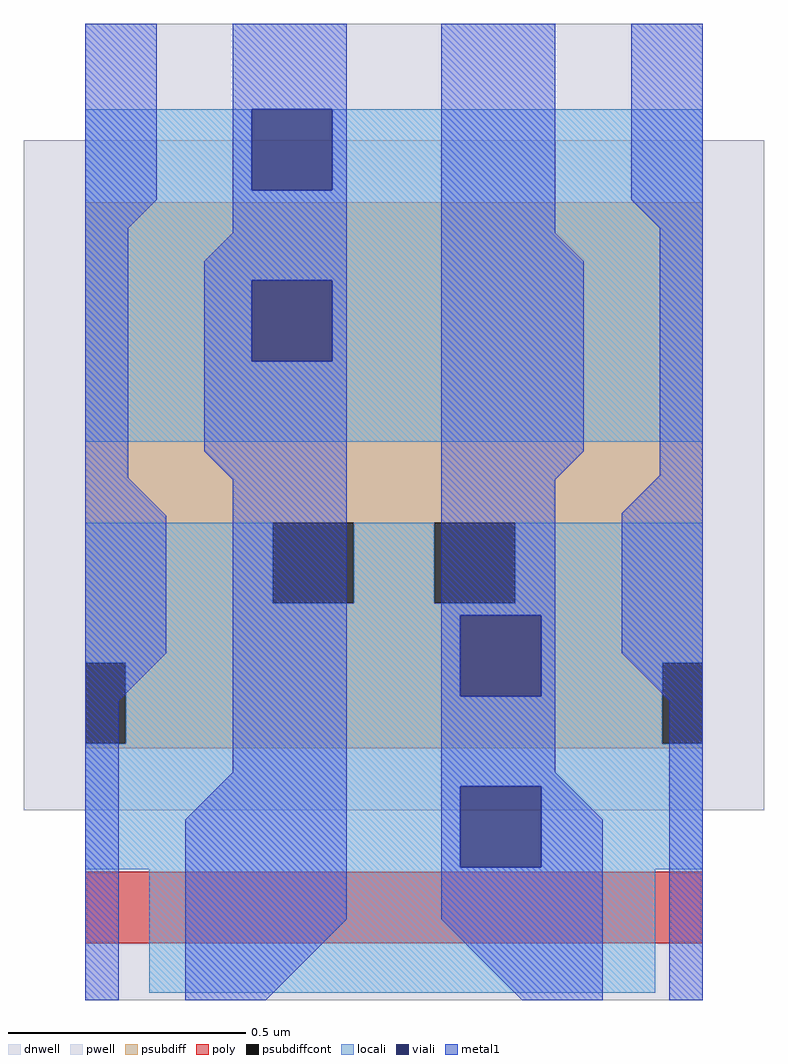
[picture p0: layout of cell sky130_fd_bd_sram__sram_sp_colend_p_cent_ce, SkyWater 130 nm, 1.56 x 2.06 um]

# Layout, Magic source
magic
tech sky130A
magscale 1 2
<< dnwell >>
rect 0 0 260 411
<< pwell >>
rect -26 80 286 362
<< psubdiff >>
rect 0 201 260 336
rect 0 167 79 201
rect 113 167 147 201
rect 181 167 260 201
rect 0 142 260 167
rect 17 108 243 142
rect 0 106 260 108
<< psubdiffcont >>
rect 79 167 113 201
rect 147 167 181 201
rect 0 108 17 142
rect 243 108 260 142
<< poly >>
rect 0 24 260 54
<< locali >>
rect 0 341 70 375
rect 104 341 260 375
rect 0 303 260 341
rect 0 269 70 303
rect 104 269 260 303
rect 0 235 260 269
rect 0 167 79 201
rect 113 167 147 201
rect 181 167 260 201
rect 0 162 260 167
rect 0 142 158 162
rect 17 128 158 142
rect 192 142 260 162
rect 192 128 243 142
rect 17 108 243 128
rect 0 90 260 108
rect 0 56 158 90
rect 192 56 260 90
rect 0 55 260 56
rect 27 3 240 55
<< viali >>
rect 70 341 104 375
rect 70 269 104 303
rect 158 128 192 162
rect 158 56 192 90
<< metal1 >>
rect 0 337 30 411
rect 0 204 18 337
tri 18 325 30 337 nw
rect 62 375 110 411
rect 62 341 70 375
rect 104 341 110 375
tri 50 311 62 323 se
rect 62 311 110 341
rect 50 303 110 311
rect 50 269 70 303
rect 104 269 110 303
rect 50 231 110 269
tri 18 204 34 220 sw
tri 50 219 62 231 ne
rect 0 146 34 204
rect 0 0 14 146
tri 14 126 34 146 nw
tri 42 76 62 96 se
rect 62 76 110 231
rect 42 34 110 76
rect 42 0 76 34
tri 76 0 110 34 nw
rect 150 311 198 411
rect 230 337 260 411
tri 230 325 242 337 ne
tri 198 311 210 323 sw
rect 150 231 210 311
rect 150 162 198 231
tri 198 219 210 231 nw
rect 150 128 158 162
rect 192 128 198 162
rect 150 90 198 128
tri 226 205 242 221 se
rect 242 205 260 337
rect 226 146 260 205
tri 226 126 246 146 ne
rect 150 56 158 90
rect 192 76 198 90
tri 198 76 218 96 sw
rect 192 56 218 76
rect 150 34 218 56
tri 150 0 184 34 ne
rect 184 0 218 34
rect 246 0 260 146
<< end >>
